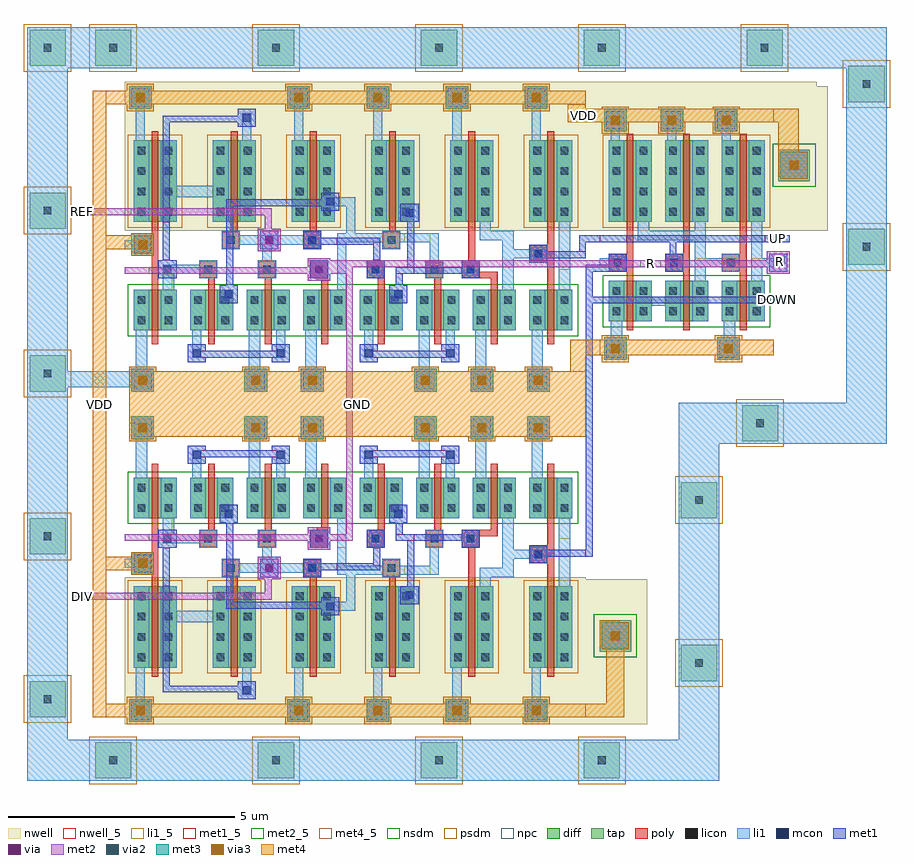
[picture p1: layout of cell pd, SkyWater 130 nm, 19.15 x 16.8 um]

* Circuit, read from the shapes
.subckt pd DIV DOWN GND R REF UP VDD
XM1 tspc_r_2/Z2 VDD GND GND sky130_fd_pr__nfet_01v8 w=0.9 l=0.15
XM2 tspc_r_1/Z2 VDD GND GND sky130_fd_pr__nfet_01v8 w=0.9 l=0.15
XM3 tspc_r_2/Z3 tspc_r_2/Z2 tspc_r_2/Z4 GND sky130_fd_pr__nfet_01v8 w=0.9 l=0.15
XM4 tspc_r_1/Z3 tspc_r_1/Z2 tspc_r_1/Z4 GND sky130_fd_pr__nfet_01v8 w=0.9 l=0.15
XM5 tspc_r_2/Z4 DIV GND GND sky130_fd_pr__nfet_01v8 w=0.9 l=0.15
XM6 tspc_r_1/Z4 REF GND GND sky130_fd_pr__nfet_01v8 w=0.9 l=0.15
XM7 tspc_r_2/Z3 R GND GND sky130_fd_pr__nfet_01v8 w=0.9 l=0.15
XM8 tspc_r_1/Z3 R GND GND sky130_fd_pr__nfet_01v8 w=0.9 l=0.15
XM9 tspc_r_2/Qbar1 DIV tspc_r_2/z5 GND sky130_fd_pr__nfet_01v8 w=0.9 l=0.15
XM10 tspc_r_1/Qbar1 REF tspc_r_1/z5 GND sky130_fd_pr__nfet_01v8 w=0.9 l=0.15
XM11 tspc_r_2/z5 tspc_r_2/Z3 GND GND sky130_fd_pr__nfet_01v8 w=0.9 l=0.15
XM12 tspc_r_1/z5 tspc_r_1/Z3 GND GND sky130_fd_pr__nfet_01v8 w=0.9 l=0.15
XM13 DOWN tspc_r_2/Qbar1 GND GND sky130_fd_pr__nfet_01v8 w=0.9 l=0.15
XM14 UP tspc_r_1/Qbar1 GND GND sky130_fd_pr__nfet_01v8 w=0.9 l=0.15
XM15 tspc_r_2/Qbar DOWN GND GND sky130_fd_pr__nfet_01v8 w=0.9 l=0.15
XM16 tspc_r_1/Qbar UP GND GND sky130_fd_pr__nfet_01v8 w=0.9 l=0.15
XM17 and_pd_0/Z1 DOWN GND GND sky130_fd_pr__nfet_01v8 w=0.9 l=0.15
XM18 and_pd_0/Out1 UP and_pd_0/Z1 GND sky130_fd_pr__nfet_01v8 w=0.9 l=0.15
XM19 R and_pd_0/Out1 GND GND sky130_fd_pr__nfet_01v8 w=0.9 l=0.15
XM20 tspc_r_2/Z1 VDD VDD VDD sky130_fd_pr__pfet_01v8 w=1.8 l=0.15
XM21 tspc_r_1/Z1 VDD VDD VDD sky130_fd_pr__pfet_01v8 w=1.8 l=0.15
XM22 tspc_r_2/Z2 DIV tspc_r_2/Z1 VDD sky130_fd_pr__pfet_01v8 w=1.8 l=0.15
XM23 tspc_r_1/Z2 REF tspc_r_1/Z1 VDD sky130_fd_pr__pfet_01v8 w=1.8 l=0.15
XM24 tspc_r_2/Z3 DIV VDD VDD sky130_fd_pr__pfet_01v8 w=1.8 l=0.15
XM25 tspc_r_1/Z3 REF VDD VDD sky130_fd_pr__pfet_01v8 w=1.8 l=0.15
XM26 tspc_r_2/Qbar1 tspc_r_2/Z3 VDD VDD sky130_fd_pr__pfet_01v8 w=1.8 l=0.15
XM27 tspc_r_1/Qbar1 tspc_r_1/Z3 VDD VDD sky130_fd_pr__pfet_01v8 w=1.8 l=0.15
XM28 DOWN tspc_r_2/Qbar1 VDD VDD sky130_fd_pr__pfet_01v8 w=1.8 l=0.15
XM29 UP tspc_r_1/Qbar1 VDD VDD sky130_fd_pr__pfet_01v8 w=1.8 l=0.15
XM30 tspc_r_2/Qbar DOWN VDD VDD sky130_fd_pr__pfet_01v8 w=1.8 l=0.15
XM31 tspc_r_1/Qbar UP VDD VDD sky130_fd_pr__pfet_01v8 w=1.8 l=0.15
XM32 and_pd_0/Out1 DOWN VDD VDD sky130_fd_pr__pfet_01v8 w=1.8 l=0.15
XM33 and_pd_0/Out1 UP VDD VDD sky130_fd_pr__pfet_01v8 w=1.8 l=0.15
XM34 R and_pd_0/Out1 VDD VDD sky130_fd_pr__pfet_01v8 w=1.8 l=0.15
.ends

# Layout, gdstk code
import gdstk
lib = gdstk.Library(unit=1e-6, precision=1e-09)
def R(c, l, rs):  # rectangles x0, y0, x1, y1
    for r in rs: c.add(gdstk.rectangle(r[:2], r[2:], *l))
def A(c, l, x, y, w, h, nx, ny, dx, dy):  # array of equal rectangles
    R(c, l, [(x+i*dx, y+j*dy, x+i*dx+w, y+j*dy+h) for i in range(nx) for j in range(ny)])
nwell_5 = (64, 5)
nwell = (64, 20)
diff = (65, 20)
tap = (65, 44)
poly = (66, 20)
licon = (66, 44)
li1_5 = (67, 5)
li1 = (67, 20)
mcon = (67, 44)
met1_5 = (68, 5)
met1 = (68, 20)
via = (68, 44)
met2_5 = (69, 5)
met2 = (69, 20)
via2 = (69, 44)
met3 = (70, 20)
via3 = (70, 44)
met4_5 = (71, 5)
met4 = (71, 20)
nsdm = (93, 44)
psdm = (94, 20)
npc = (95, 20)

and_pd = lib.new_cell('and_pd')
R(and_pd, nwell_5, [(-0.5,2.05,3.35,2.35)])
R(and_pd, nwell, [(-0.8,-0.35,3.35,2.65)])
A(and_pd, diff, -0.3, -2.35, 0.95, 0.9, 3, 1, 1.25, 0)
A(and_pd, diff, -0.3, -0.15, 0.95, 1.8, 3, 1, 1.25, 0)
A(and_pd, poly, 0.1, -2.55, 0.15, 1.3, 3, 1, 1.25, 0)
A(and_pd, poly, -0.3, -1.25, 0.55, 0.4, 3, 1, 1.25, 0)
A(and_pd, poly, 0.1, -0.85, 0.15, 2.65, 3, 1, 1.25, 0)
A(and_pd, licon, -0.185, -1.135, 0.17, 0.17, 3, 1, 1.25, 0)
A(and_pd, licon, -0.21, -0.01, 0.17, 0.17, 1, 4, 0, 0.45)
A(and_pd, licon, 0.39, -0.01, 0.17, 0.17, 1, 4, 0, 0.45)
A(and_pd, licon, 1.04, -0.01, 0.17, 0.17, 1, 4, 0, 0.45)
A(and_pd, licon, 1.64, -0.01, 0.17, 0.17, 1, 4, 0, 0.45)
A(and_pd, licon, 2.29, -0.01, 0.17, 0.17, 1, 4, 0, 0.45)
A(and_pd, licon, 2.89, -0.01, 0.17, 0.17, 1, 4, 0, 0.45)
R(and_pd, licon, [(-0.21,-2.21,-0.04,-2.04), (0.39,-2.21,0.56,-2.04), (1.04,-2.21,1.21,-2.04), (1.64,-2.21,1.81,-2.04), (2.29,-2.21,2.46,-2.04), (2.89,-2.21,3.06,-2.04), (-0.21,-1.76,-0.04,-1.59), (0.39,-1.76,0.56,-1.59), (1.04,-1.76,1.21,-1.59), (1.64,-1.76,1.81,-1.59), (2.29,-1.76,2.46,-1.59), (2.89,-1.76,3.06,-1.59)])
R(and_pd, li1_5, [(0.65,-2,0.95,-1.8), (-0.5,-1.15,0,-0.95), (1.6,-1.15,2.6,-0.95), (2.85,-1.15,3.35,-0.95)])
R(and_pd, li1, [(-0.25,-3.05,-0.05,-2.95), (2.25,-3.05,2.45,-2.95), (-0.25,-2.95,0,-2.35), (2.25,-2.95,2.5,-2.35), (-0.3,-2.35,0.05,-1.45), (0.3,-2.35,0.65,-2), (0.95,-2.35,1.3,-2), (1.55,-2.35,1.9,-1.45), (2.2,-2.35,2.55,-1.45), (2.8,-2.35,3.15,-1.45), (0.3,-2,1.3,-1.8), (0.3,-1.8,0.65,-1.45), (0.95,-1.8,1.3,-1.45), (1.6,-1.45,1.85,-1.15), (2.85,-1.45,3.1,-1.15), (-0.3,-1.25,0.1,-1.15), (0.95,-1.25,1.35,-0.85), (2.2,-1.25,2.6,-1.15), (-0.5,-1.15,0.1,-0.95), (1.6,-1.15,2.6,-0.95), (2.85,-1.15,3.35,-0.95), (-0.3,-0.95,0.1,-0.85), (1.6,-0.95,1.85,-0.55), (2.2,-0.95,2.6,-0.85), (2.85,-0.95,3.1,-0.15), (0.35,-0.55,1.85,-0.35), (0.35,-0.35,0.6,-0.15), (1.6,-0.35,1.85,-0.15), (-0.3,-0.15,0.05,1.65), (0.3,-0.15,0.65,1.65), (0.95,-0.15,1.3,1.65), (1.55,-0.15,1.9,1.65), (2.2,-0.15,2.55,1.65), (2.8,-0.15,3.15,1.65), (-0.25,1.65,-0.05,2.2), (1,1.65,1.2,2.2), (2.2,1.65,2.4,2.2)])
R(and_pd, mcon, [(-0.235,-3.035,-0.065,-2.865), (2.265,-3.035,2.435,-2.865), (1.065,-1.135,1.235,-0.965), (-0.235,2.015,-0.065,2.185), (1.015,2.015,1.185,2.185), (2.215,2.015,2.385,2.185)])
R(and_pd, met1_5, [(-0.5,-0.6,0.1,-0.45)])
R(and_pd, met1, [(-0.35,-3.15,0.05,-2.75), (2.15,-3.15,2.55,-2.75), (0.95,-1.25,1.35,-0.85), (1.05,-0.85,1.2,-0.6), (-0.5,-0.6,1.2,-0.45), (-0.35,1.9,0.05,2.3), (0.9,1.9,1.3,2.3), (2.1,1.9,2.5,2.3)])
R(and_pd, via, [(-0.225,-3.025,-0.075,-2.875), (2.275,-3.025,2.425,-2.875), (-0.225,2.025,-0.075,2.175), (1.025,2.025,1.175,2.175), (2.225,2.025,2.375,2.175)])
R(and_pd, met2, [(-0.4,-3.2,0.1,-2.7), (2.1,-3.2,2.6,-2.7), (-0.4,1.85,0.1,2.35), (0.85,1.85,1.35,2.35), (2.05,1.85,2.55,2.35)])
R(and_pd, via2, [(-0.25,-3.05,-0.05,-2.85), (2.25,-3.05,2.45,-2.85), (-0.25,2,-0.05,2.2), (1,2,1.2,2.2), (2.2,2,2.4,2.2)])
R(and_pd, met3, [(-0.4,-3.2,0.1,-2.7), (2.1,-3.2,2.6,-2.7), (-0.4,1.85,0.1,2.35), (0.85,1.85,1.35,2.35), (2.05,1.85,2.55,2.35)])
R(and_pd, via3, [(-0.25,-3.05,-0.05,-2.85), (2.25,-3.05,2.45,-2.85), (-0.25,2,-0.05,2.2), (1,2,1.2,2.2), (2.2,2,2.4,2.2)])
R(and_pd, met4_5, [(-0.5,-3.1,3.35,-2.75)])
R(and_pd, met4, [(-1.15,-3.75,-0.8,-3.1), (-0.45,-3.25,0.15,-3.1), (2.05,-3.25,2.65,-3.1), (-1.15,-3.1,3.35,-2.75), (-0.45,-2.75,0.15,-2.65), (2.05,-2.75,2.65,-2.65), (-0.45,1.8,0.15,2.05), (0.8,1.8,1.4,2.05), (2,1.8,2.6,2.05), (-1.2,2.05,3.35,2.35), (-1.2,2.35,-0.8,2.75), (-0.45,2.35,0.15,2.4), (0.8,2.35,1.4,2.4), (2,2.35,2.6,2.4)])
R(and_pd, nsdm, [(-0.425,-2.475,3.275,-1.325)])
R(and_pd, psdm, [(-0.425,-0.275,3.275,1.775)])
A(and_pd, npc, -0.285, -1.235, 0.37, 0.37, 3, 1, 1.25, 0)
and_pd.add(gdstk.Label('VDD', (1.425,2.2), layer=64, texttype=5))
and_pd.add(gdstk.Label('GND', (1.425,-2.925), layer=71, texttype=5))
and_pd.add(gdstk.Label('Z1', (0.8,-1.9), layer=67, texttype=5))
and_pd.add(gdstk.Label('Out1', (2.1,-1.05), layer=67, texttype=5))
and_pd.add(gdstk.Label('Out', (3.1,-1.05), layer=67, texttype=5))
and_pd.add(gdstk.Label('A', (-0.25,-1.05), layer=67, texttype=5))
and_pd.add(gdstk.Label('B', (-0.2,-0.525), layer=68, texttype=5))

tspc_r = lib.new_cell('tspc_r')
R(tspc_r, nwell, [(-1.45,-0.2,8.75,2)])
A(tspc_r, diff, -1.25, -2.4, 0.95, 0.9, 8, 1, 1.25, 0)
A(tspc_r, diff, -1.25, 0, 0.95, 1.8, 6, 1, 1.75, 0)
A(tspc_r, poly, 4.15, -2.7, 0.15, 1.45, 3, 1, 1.25, 0)
A(tspc_r, poly, 0.9, -0.2, 0.15, 2.2, 3, 1, 1.75, 0)
R(tspc_r, poly, [(-0.85,-2.7,-0.7,-0.7), (0.4,-2.7,0.55,-1.25), (1.65,-2.7,1.8,-1.25), (2.9,-2.7,3.05,-1.3), (7.9,-2.7,8.05,-0.9), (2.8,-1.3,3.05,-1.25), (0.2,-1.25,0.6,-0.85), (1.5,-1.25,1.9,-0.85), (2.65,-1.25,3.05,-0.85), (3.9,-1.25,4.3,-0.85), (5.2,-1.25,5.6,-0.85), (6,-1.25,6.8,-1.1), (6,-1.1,6.4,-0.85), (7.5,-0.9,8.05,-0.5), (6.15,-0.85,6.3,2), (-1.25,-0.7,-0.7,-0.3), (0.7,-0.6,1.1,-0.2), (2.5,-0.6,2.9,-0.2), (4.25,-0.6,4.65,-0.2), (7.9,-0.5,8.05,2), (-0.85,-0.3,-0.7,2)])
A(tspc_r, licon, -1.16, 0.14, 0.17, 0.17, 1, 4, 0, 0.45)
A(tspc_r, licon, -0.56, 0.14, 0.17, 0.17, 1, 4, 0, 0.45)
A(tspc_r, licon, 0.59, 0.14, 0.17, 0.17, 1, 4, 0, 0.45)
A(tspc_r, licon, 1.19, 0.14, 0.17, 0.17, 1, 4, 0, 0.45)
A(tspc_r, licon, 2.34, 0.14, 0.17, 0.17, 1, 4, 0, 0.45)
A(tspc_r, licon, 2.94, 0.14, 0.17, 0.17, 1, 4, 0, 0.45)
A(tspc_r, licon, 4.09, 0.14, 0.17, 0.17, 1, 4, 0, 0.45)
A(tspc_r, licon, 4.69, 0.14, 0.17, 0.17, 1, 4, 0, 0.45)
A(tspc_r, licon, 5.84, 0.14, 0.17, 0.17, 1, 4, 0, 0.45)
A(tspc_r, licon, 6.44, 0.14, 0.17, 0.17, 1, 4, 0, 0.45)
A(tspc_r, licon, 7.59, 0.14, 0.17, 0.17, 1, 4, 0, 0.45)
A(tspc_r, licon, 8.19, 0.14, 0.17, 0.17, 1, 4, 0, 0.45)
R(tspc_r, licon, [(-1.16,-2.26,-0.99,-2.09), (-0.56,-2.26,-0.39,-2.09), (0.09,-2.26,0.26,-2.09), (0.69,-2.26,0.86,-2.09), (1.34,-2.26,1.51,-2.09), (1.94,-2.26,2.11,-2.09), (2.59,-2.26,2.76,-2.09), (3.19,-2.26,3.36,-2.09), (3.84,-2.26,4.01,-2.09), (4.44,-2.26,4.61,-2.09), (5.09,-2.26,5.26,-2.09), (5.69,-2.26,5.86,-2.09), (6.34,-2.26,6.51,-2.09), (6.94,-2.26,7.11,-2.09), (7.59,-2.26,7.76,-2.09), (8.19,-2.26,8.36,-2.09), (-1.16,-1.81,-0.99,-1.64), (-0.56,-1.81,-0.39,-1.64), (0.09,-1.81,0.26,-1.64), (0.69,-1.81,0.86,-1.64), (1.34,-1.81,1.51,-1.64), (1.94,-1.81,2.11,-1.64), (2.59,-1.81,2.76,-1.64), (3.19,-1.81,3.36,-1.64), (3.84,-1.81,4.01,-1.64), (4.44,-1.81,4.61,-1.64), (5.09,-1.81,5.26,-1.64), (5.69,-1.81,5.86,-1.64), (6.34,-1.81,6.51,-1.64), (6.94,-1.81,7.11,-1.64), (7.59,-1.81,7.76,-1.64), (8.19,-1.81,8.36,-1.64), (0.315,-1.135,0.485,-0.965), (1.615,-1.135,1.785,-0.965), (2.765,-1.135,2.935,-0.965), (4.015,-1.135,4.185,-0.965), (5.315,-1.135,5.485,-0.965), (6.115,-1.135,6.285,-0.965), (7.615,-0.785,7.785,-0.615), (-1.135,-0.585,-0.965,-0.415), (0.815,-0.485,0.985,-0.315), (2.615,-0.485,2.785,-0.315), (4.365,-0.485,4.535,-0.315)])
R(tspc_r, li1_5, [(-0.6,-1.5,-0.4,-1.15), (3.25,-1.5,3.45,-0.85), (8.15,-1.5,8.4,-1.05), (5.3,-1.25,5.5,-0.25), (-1.45,-0.6,-0.85,-0.4), (1.1,-0.5,2.5,-0.3), (4.35,-0.45,4.75,-0.25), (-0.3,0.55,0.5,0.8)])
A(tspc_r, li1, 5.1, -3.6, 0.2, 0.15, 3, 1, 1.25, 0)
A(tspc_r, li1, 5.05, -3.45, 0.25, 1.05, 3, 1, 1.25, 0)
A(tspc_r, li1, 2.3, 1.8, 0.2, 1.05, 4, 1, 1.75, 0)
R(tspc_r, li1, [(-1.15,-3.6,-0.95,-3.45), (1.35,-3.6,1.55,-3.45), (2.6,-3.6,2.8,-3.45), (-1.2,-3.45,-0.95,-2.4), (1.3,-3.45,1.55,-2.4), (2.55,-3.45,2.8,-2.4), (0.05,-3,0.25,-2.4), (1.9,-3,2.1,-2.4), (3.85,-3,4.05,-2.4), (5.65,-3,5.85,-2.4), (-1.25,-2.4,-0.9,-1.5), (-0.65,-2.4,-0.3,-1.5), (0,-2.4,0.35,-1.5), (0.6,-2.4,0.95,-1.5), (1.25,-2.4,1.6,-1.5), (1.85,-2.4,2.2,-1.5), (2.5,-2.4,2.85,-1.5), (3.1,-2.4,3.45,-1.5), (3.75,-2.4,4.1,-1.5), (4.35,-2.4,4.7,-1.5), (5,-2.4,5.35,-1.5), (5.6,-2.4,5.95,-1.5), (6.25,-2.4,6.6,-1.5), (6.85,-2.4,7.2,-1.5), (7.5,-2.4,7.85,-1.5), (8.1,-2.4,8.45,-1.5), (-0.6,-1.5,-0.35,-1.15), (3.25,-1.5,3.45,-0.45), (6.9,-1.5,7.15,-0.8), (8.15,-1.5,8.4,0), (0.2,-1.25,0.6,-1.15), (1.5,-1.25,1.9,-0.85), (2.65,-1.25,3.05,-0.85), (3.9,-1.25,4.3,-0.85), (5.2,-1.25,5.6,-0.85), (6,-1.25,6.4,-0.85), (-0.6,-1.15,0.6,-0.95), (0.2,-0.95,0.6,-0.85), (7.5,-0.9,7.9,-0.8), (1.6,-0.85,1.8,-0.5), (5.3,-0.85,5.5,-0.45), (6.9,-0.8,7.9,-0.6), (-1.25,-0.7,-0.85,-0.6), (-1.45,-0.6,-0.85,-0.4), (0.7,-0.6,1.1,-0.5), (2.5,-0.6,2.9,-0.5), (4.25,-0.6,4.65,-0.45), (6.9,-0.6,7.15,-0.4), (7.5,-0.6,7.9,-0.5), (0.7,-0.5,2.9,-0.3), (3.25,-0.45,5.5,-0.25), (-1.25,-0.4,-0.85,-0.3), (6.4,-0.4,7.15,-0.2), (0.7,-0.3,1.1,-0.2), (2.5,-0.3,2.9,-0.2), (3.45,-0.25,3.65,0.35), (4.25,-0.25,4.65,-0.2), (6.4,-0.2,6.65,0), (-1.25,0,-0.9,1.8), (-0.65,0,-0.3,0.55), (0.5,0,0.85,0.55), (1.1,0,1.45,1.8), (2.25,0,2.6,1.8), (2.85,0,3.2,0.35), (4,0,4.35,1.8), (4.6,0,4.95,1.8), (5.75,0,6.1,1.8), (6.35,0,6.7,1.8), (7.5,0,7.85,1.8), (8.1,0,8.45,1.8), (2.85,0.35,3.65,0.55), (-0.65,0.55,0.85,0.8), (2.85,0.55,3.2,1.8), (-0.65,0.8,-0.3,1.8), (0.5,0.8,0.85,1.8), (-1.2,1.8,-1,2.85), (1.15,1.8,1.35,2.4)])
A(tspc_r, mcon, 5.115, -3.585, 0.17, 0.17, 3, 1, 1.25, 0)
A(tspc_r, mcon, 2.315, 2.665, 0.17, 0.17, 4, 1, 1.75, 0)
R(tspc_r, mcon, [(-1.135,-3.585,-0.965,-3.415), (1.365,-3.585,1.535,-3.415), (2.615,-3.585,2.785,-3.415), (0.065,-2.985,0.235,-2.815), (1.915,-2.985,2.085,-2.815), (3.865,-2.985,4.035,-2.815), (5.665,-2.985,5.835,-2.815), (0.765,-1.685,0.935,-1.515), (4.515,-1.685,4.685,-1.515), (-0.585,-1.135,-0.415,-0.965), (2.765,-1.135,2.935,-0.965), (4.015,-1.135,4.185,-0.965), (6.115,-1.135,6.285,-0.965), (7.615,-0.785,7.785,-0.615), (1.665,-0.485,1.835,-0.315), (2.615,-0.485,2.785,-0.315), (4.765,0.115,4.935,0.285), (3.015,0.365,3.185,0.535), (1.165,2.215,1.335,2.385), (-1.185,2.665,-1.015,2.835)])
R(tspc_r, met1_5, [(0.05,-3,2.1,-2.85), (3.85,-3,5.85,-2.85), (4.55,-1.15,4.95,-1), (5.6,-1.15,6,-1), (-0.6,-0.85,-0.45,0), (4.05,-0.85,4.2,-0.45), (7.6,-0.8,8.75,-0.65), (2.6,-0.5,3.25,-0.35)])
A(tspc_r, met1, 5, -3.7, 0.4, 0.4, 3, 1, 1.25, 0)
A(tspc_r, met1, 2.2, 2.55, 0.4, 0.4, 4, 1, 1.75, 0)
R(tspc_r, met1, [(-1.25,-3.7,-0.85,-3.3), (1.25,-3.7,1.65,-3.3), (2.5,-3.7,2.9,-3.3), (-0.05,-3.1,0.35,-3), (1.8,-3.1,2.2,-3), (3.75,-3.1,4.15,-3), (5.55,-3.1,5.95,-3), (-0.05,-3,2.2,-2.85), (3.75,-3,5.95,-2.85), (-0.05,-2.85,0.35,-2.7), (1.8,-2.85,2.2,-2.7), (3.75,-2.85,4.15,-2.7), (5.55,-2.85,5.95,-2.7), (0.65,-1.8,1.05,-1.4), (4.4,-1.8,4.8,-1.4), (0.8,-1.4,0.95,0.35), (4.55,-1.4,4.7,-1.15), (-0.7,-1.25,-0.3,-0.85), (2.65,-1.25,3.05,-0.85), (3.9,-1.25,4.3,-0.85), (6,-1.25,6.4,-1.15), (4.55,-1.15,6.4,-1), (4.8,-1,4.95,0), (6,-1,6.4,-0.85), (7.5,-0.9,7.9,-0.8), (-0.6,-0.85,-0.45,2.2), (4.05,-0.85,4.2,-0.5), (7.5,-0.8,8.75,-0.65), (7.5,-0.65,7.9,-0.5), (1.55,-0.6,1.95,-0.2), (2.5,-0.6,2.9,-0.5), (2.5,-0.5,4.2,-0.35), (2.5,-0.35,2.9,-0.2), (4.65,0,5.05,0.4), (2.9,0.25,3.3,0.35), (0.8,0.35,3.3,0.5), (2.9,0.5,3.3,0.65), (1.05,2.1,1.45,2.2), (-0.6,2.2,1.45,2.35), (1.05,2.35,1.45,2.5), (-1.3,2.55,-0.9,2.95)])
A(tspc_r, via, 5.125, -3.575, 0.15, 0.15, 3, 1, 1.25, 0)
A(tspc_r, via, 2.325, 2.675, 0.15, 0.15, 4, 1, 1.75, 0)
R(tspc_r, via, [(-1.125,-3.575,-0.975,-3.425), (1.375,-3.575,1.525,-3.425), (2.625,-3.575,2.775,-3.425), (2.775,-1.125,2.925,-0.975), (1.675,-0.475,1.825,-0.325), (-1.175,2.675,-1.025,2.825)])
R(tspc_r, met2_5, [(-1.45,-1.15,-0.9,-1), (-1.45,0.15,-1.3,0.3)])
A(tspc_r, met2, 4.95, -3.75, 0.5, 0.5, 3, 1, 1.25, 0)
A(tspc_r, met2, 2.15, 2.5, 0.5, 0.5, 4, 1, 1.75, 0)
R(tspc_r, met2, [(-1.3,-3.75,-0.8,-3.25), (1.2,-3.75,1.7,-3.25), (2.45,-3.75,2.95,-3.25), (2.6,-1.3,3.1,-1.15), (-1.45,-1.15,3.1,-1), (2.6,-1,3.1,-0.8), (1.5,-0.65,2,-0.15), (1.65,-0.15,1.8,0.15), (-1.45,0.15,1.8,0.3), (-1.35,2.5,-0.85,3)])
A(tspc_r, via2, 5.1, -3.6, 0.2, 0.2, 3, 1, 1.25, 0)
A(tspc_r, via2, 2.3, 2.65, 0.2, 0.2, 4, 1, 1.75, 0)
R(tspc_r, via2, [(-1.15,-3.6,-0.95,-3.4), (1.35,-3.6,1.55,-3.4), (2.6,-3.6,2.8,-3.4), (-1.2,2.65,-1,2.85)])
A(tspc_r, met3, 4.95, -3.75, 0.5, 0.5, 3, 1, 1.25, 0)
A(tspc_r, met3, 2.15, 2.5, 0.5, 0.5, 4, 1, 1.75, 0)
R(tspc_r, met3, [(-1.3,-3.75,-0.8,-3.25), (1.2,-3.75,1.7,-3.25), (2.45,-3.75,2.95,-3.25), (-1.35,2.5,-0.85,3)])
A(tspc_r, via3, 5.1, -3.6, 0.2, 0.2, 3, 1, 1.25, 0)
A(tspc_r, via3, 2.3, 2.65, 0.2, 0.2, 4, 1, 1.75, 0)
R(tspc_r, via3, [(-1.15,-3.6,-0.95,-3.4), (1.35,-3.6,1.55,-3.4), (2.6,-3.6,2.8,-3.4), (-1.2,2.65,-1,2.85)])
R(tspc_r, met4_5, [(-1.2,-3.6,8.75,-3.3), (-1.25,2.6,8.75,2.9)])
A(tspc_r, met4, 4.9, -3.8, 0.6, 0.2, 3, 1, 1.25, 0)
A(tspc_r, met4, 4.9, -3.3, 0.6, 0.1, 3, 1, 1.25, 0)
A(tspc_r, met4, 2.1, 2.45, 0.6, 0.15, 4, 2, 1.75, 0.45)
R(tspc_r, met4, [(-1.35,-3.8,-0.75,-3.6), (1.15,-3.8,1.75,-3.6), (2.4,-3.8,3,-3.6), (-1.35,-3.6,8.75,-3.3), (-1.35,-3.3,-0.75,-3.2), (1.15,-3.3,1.75,-3.2), (2.4,-3.3,3,-3.2), (-1.4,2.45,-0.8,2.6), (-1.4,2.6,8.75,2.9), (-1.4,2.9,-0.8,3.05)])
R(tspc_r, nsdm, [(-1.375,-2.525,8.575,-1.375)])
A(tspc_r, psdm, -1.375, -0.125, 1.2, 2.05, 6, 1, 1.75, 0)
R(tspc_r, npc, [(0.215,-1.235,0.585,-0.865), (1.515,-1.235,1.885,-0.865), (2.665,-1.235,3.035,-0.865), (3.915,-1.235,4.285,-0.865), (5.215,-1.235,5.585,-0.865), (6.015,-1.235,6.385,-0.865), (7.515,-0.885,7.885,-0.515), (-1.235,-0.685,-0.865,-0.315), (0.715,-0.585,1.085,-0.215), (2.515,-0.585,2.885,-0.215), (4.265,-0.585,4.635,-0.215)])
tspc_r.add(gdstk.Label('VDD', (3.75,2.75), layer=71, texttype=5))
tspc_r.add(gdstk.Label('Qbar', (8.275,-1.275), layer=67, texttype=5))
tspc_r.add(gdstk.Label('Q', (8.175,-0.725), layer=68, texttype=5))
tspc_r.add(gdstk.Label('z5', (4.85,-2.925), layer=68, texttype=5))
tspc_r.add(gdstk.Label('Qbar1', (4.75,-1.075), layer=68, texttype=5))
tspc_r.add(gdstk.Label('Qbar1', (5.8,-1.075), layer=68, texttype=5))
tspc_r.add(gdstk.Label('clk', (4.125,-0.65), layer=68, texttype=5))
tspc_r.add(gdstk.Label('clk', (2.925,-0.425), layer=68, texttype=5))
tspc_r.add(gdstk.Label('clk', (-1.375,0.225), layer=69, texttype=5))
tspc_r.add(gdstk.Label('clk', (1.8,-0.4), layer=67, texttype=5))
tspc_r.add(gdstk.Label('D', (-1.15,-0.5), layer=67, texttype=5))
tspc_r.add(gdstk.Label('R', (-1.175,-1.075), layer=69, texttype=5))
tspc_r.add(gdstk.Label('Z2', (-0.5,-1.325), layer=67, texttype=5))
tspc_r.add(gdstk.Label('Z2', (-0.525,-0.425), layer=68, texttype=5))
tspc_r.add(gdstk.Label('Z1', (0.1,0.675), layer=67, texttype=5))
tspc_r.add(gdstk.Label('Z4', (1.075,-2.925), layer=68, texttype=5))
tspc_r.add(gdstk.Label('Z3', (3.35,-1.175), layer=67, texttype=5))
tspc_r.add(gdstk.Label('Z3', (5.4,-0.75), layer=67, texttype=5))
tspc_r.add(gdstk.Label('Z3', (4.55,-0.35), layer=67, texttype=5))
tspc_r.add(gdstk.Label('GND', (3.775,-3.45), layer=71, texttype=5))

c_pd = lib.new_cell('pd')
R(c_pd, nwell_5, [(9.8,6,10.5,6.3), (9.8,6.3,10.2,6.4)])
R(c_pd, nwell, [(0,-7.3,11.55,-6.15), (9.95,-6.15,11.55,-4.1), (14.3,3.6,15.55,5.8), (0,5.8,15.55,6.8), (0,6.8,15.3,6.9)])
A(c_pd, tap, -0.65, -8.5, 0.8, 0.8, 4, 1, 3.6, 0)
A(c_pd, tap, -2.1, -7.15, 0.8, 0.8, 1, 5, 0, 3.6)
A(c_pd, tap, -0.65, 7.25, 0.8, 0.8, 5, 1, 3.6, 0)
R(c_pd, tap, [(12.3,-6.35,13.1,-5.55), (10.5,-5.7,11.2,-5), (12.3,-2.75,13.1,-1.95), (13.65,-1.05,14.45,-0.25), (16,2.85,16.8,3.65), (14.45,4.7,15.15,5.4), (16,6.45,16.8,7.25)])
A(c_pd, licon, -0.335, -8.185, 0.17, 0.17, 4, 1, 3.6, 0)
A(c_pd, licon, -1.785, -6.835, 0.17, 0.17, 1, 5, 0, 3.6)
A(c_pd, licon, -0.335, 7.565, 0.17, 0.17, 5, 1, 3.6, 0)
R(c_pd, licon, [(12.615,-6.035,12.785,-5.865), (10.765,-5.435,10.935,-5.265), (12.615,-2.435,12.785,-2.265), (13.965,-0.735,14.135,-0.565), (16.315,3.165,16.485,3.335), (14.715,4.965,14.885,5.135), (16.315,6.765,16.485,6.935)])
R(c_pd, li1, [(-2.15,-8.55,13.15,-7.65), (-2.15,-7.65,-1.25,0.15), (12.25,-7.65,13.15,-1.1), (10.55,-5.65,11.15,-5.05), (0.3,-3.85,0.5,-3.65), (12.25,-1.1,16.85,-0.2), (15.95,-0.2,16.85,7.2), (-2.15,0.15,0.6,0.5), (-2.15,0.5,-1.25,7.2), (10.8,2.8,11,3), (14.35,2.8,14.55,3), (0.3,3.2,0.5,3.4), (14.5,4.75,15.1,5.35), (-2.15,7.2,16.85,8.1)])
R(c_pd, mcon, [(10.765,-5.435,10.935,-5.265), (0.315,-3.835,0.485,-3.665), (10.815,2.815,10.985,2.985), (14.365,2.815,14.535,2.985), (0.315,3.215,0.485,3.385), (14.715,4.965,14.885,5.135)])
R(c_pd, met1_5, [(14.15,2,14.7,2.15), (14.15,3.35,14.7,3.5)])
R(c_pd, met1, [(10.55,-5.65,11.15,-5.05), (0.2,-3.95,0.6,-3.55), (10.2,-3.6,10.35,2), (10.2,2,14.7,2.15), (10.2,2.15,10.35,2.7), (10.2,2.7,11.1,2.85), (14.25,2.7,14.65,3.1), (10.7,2.85,11.1,3.1), (10.05,3,10.2,3.35), (0.2,3.1,0.6,3.5), (10.05,3.35,10.5,3.5), (12,3.35,14.7,3.5), (14.5,4.75,15.1,5.35)])
R(c_pd, via, [(10.775,-5.425,10.925,-5.275), (0.325,-3.825,0.475,-3.675), (14.375,2.825,14.525,2.975), (0.325,3.225,0.475,3.375), (14.725,4.975,14.875,5.125)])
R(c_pd, met2_5, [(-1.15,-4.55,-0.7,-4.4), (11.4,2.8,11.85,2.95), (14.35,2.8,14.6,3.05), (-1.15,3.95,-0.7,4.1)])
R(c_pd, met2, [(10.55,-5.65,11.15,-5.05), (-1.15,-4.55,0,-4.4), (0.15,-4,0.65,-3.5), (4.25,-3.25,5.05,-3.1), (4.9,-3.1,5.05,2.65), (4.2,2.65,5.05,2.8), (14.2,2.65,14.7,2.8), (4.15,2.8,14.7,2.95), (14.2,2.95,14.7,3.15), (0.2,3.1,0.6,3.5), (-1.15,3.95,0,4.1), (14.5,4.75,15.1,5.35)])
R(c_pd, via2, [(10.75,-5.45,10.95,-5.25), (0.3,-3.85,0.5,-3.65), (0.3,3.2,0.5,3.4), (14.7,4.95,14.9,5.15)])
R(c_pd, met3, [(10.55,-5.65,11.15,-5.05), (0.15,-4,0.65,-3.5), (0.15,3.05,0.65,3.55), (14.5,4.75,15.1,5.35)])
R(c_pd, via3, [(10.75,-5.45,10.95,-5.25), (0.3,-3.85,0.5,-3.65), (0.3,3.2,0.5,3.4), (14.7,4.95,14.9,5.15)])
R(c_pd, met4_5, [(-0.7,-7.15,-0.4,6.7), (0.1,-0.65,10.2,0.2)])
R(c_pd, met4, [(-0.7,-7.15,0.2,-6.85), (10.2,-7.15,11.05,-6.85), (-0.7,-6.85,-0.4,-3.9), (10.65,-6.85,11.05,-5.65), (10.55,-5.65,11.15,-5.6), (10.5,-5.6,11.15,-5.05), (10.5,-5.05,10.95,-5), (0.15,-4,0.65,-3.9), (-0.7,-3.9,0.65,-3.6), (-0.7,-3.6,-0.4,3.2), (0.15,-3.6,0.65,-3.5), (0.1,-0.65,10.2,0.2), (0.15,3.05,0.65,3.2), (-0.7,3.2,0.65,3.5), (-0.7,3.5,-0.4,6.4), (0.15,3.5,0.65,3.55), (14.5,4.75,15.1,4.8), (14.45,4.8,15.1,5.35), (14.45,5.35,14.9,6), (14.05,6,14.9,6.3), (-0.7,6.4,0.2,6.7), (7.2,6.4,9.25,6.7)])
R(c_pd, nsdm, [(10.375,-5.825,11.325,-4.875), (14.325,4.575,15.275,5.525)])
A(c_pd, psdm, -0.775, -8.625, 1.05, 1.05, 4, 1, 3.6, 0)
A(c_pd, psdm, -2.225, -7.275, 1.05, 1.05, 1, 5, 0, 3.6)
A(c_pd, psdm, -0.775, 7.125, 1.05, 1.05, 5, 1, 3.6, 0)
R(c_pd, psdm, [(12.175,-6.475,13.225,-5.425), (12.175,-2.875,13.225,-1.825), (13.525,-1.175,14.575,-0.125), (15.875,2.725,16.925,3.775), (15.875,6.325,16.925,7.375)])
c_pd.add(gdstk.Reference(and_pd, (11,3.95)))
c_pd.add(gdstk.Reference(tspc_r, (1.45,3.8)))
c_pd.add(gdstk.Reference(tspc_r, (1.45,-4.25), x_reflection=True))
c_pd.add(gdstk.Label('VDD', (10.15,6.15), layer=64, texttype=5))
c_pd.add(gdstk.Label('VDD', (10,6.35), layer=64, texttype=5))
c_pd.add(gdstk.Label('GND', (5.15,-0.225), layer=71, texttype=5))
c_pd.add(gdstk.Label('VDD', (-0.55,-0.225), layer=71, texttype=5))
c_pd.add(gdstk.Label('REF', (-0.925,4.025), layer=69, texttype=5))
c_pd.add(gdstk.Label('DIV', (-0.925,-4.475), layer=69, texttype=5))
c_pd.add(gdstk.Label('UP', (14.425,3.425), layer=68, texttype=5))
c_pd.add(gdstk.Label('DOWN', (14.425,2.075), layer=68, texttype=5))
c_pd.add(gdstk.Label('R', (14.475,2.925), layer=69, texttype=5))
c_pd.add(gdstk.Label('R', (11.625,2.875), layer=69, texttype=5))

lib.write_gds('pd.gds')
